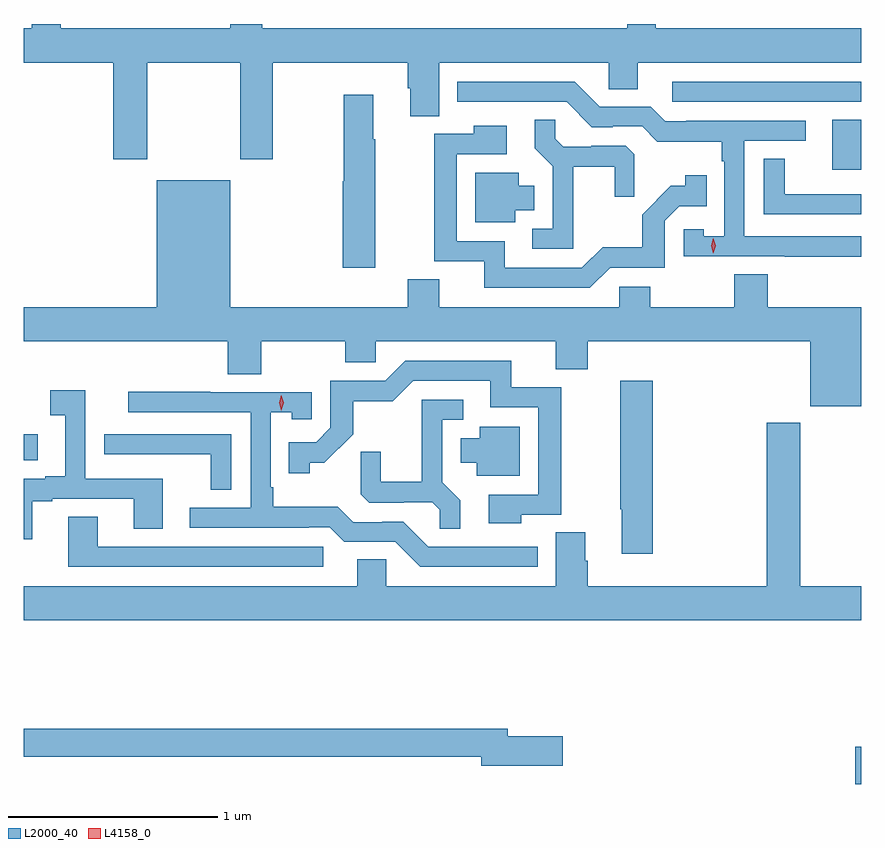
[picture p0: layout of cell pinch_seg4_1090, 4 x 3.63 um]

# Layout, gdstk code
import gdstk
lib = gdstk.Library(unit=1e-6, precision=1e-09)
def R(c, l, rs):  # rectangles x0, y0, x1, y1
    for r in rs: c.add(gdstk.rectangle(r[:2], r[2:], *l))
def P(c, l, *ps):  # polygons
    for p in ps: c.add(gdstk.Polygon(p, *l))
L2000_40 = (2000, 40)
L4158_0 = (4158, 0)

pinch_seg4_1090 = lib.new_cell('pinch_seg4_1090')
R(pinch_seg4_1090, L2000_40, [(426.648,793.375,426.678,793.553), (422.678,794.921,422.746,795.045), (426.539,796.308,426.678,796.547), (425.775,796.632,426.678,796.728)])
P(pinch_seg4_1090, L2000_40, [(423.267,796.82),(423.712,796.82),(423.712,796.359),(423.867,796.359),(423.867,796.82),(424.511,796.82),(424.511,796.698),(424.523,796.698),(424.523,796.564),(424.663,796.564),(424.663,796.82),(425.472,796.82),(425.472,796.693),(425.611,796.693),(425.611,796.82),(426.678,796.82),(426.678,796.984),(425.696,796.984),(425.696,797.004),(425.56,797.004),(425.56,796.984),(423.818,796.984),(423.818,797.004),(423.665,797.004),(423.665,796.984),(422.856,796.984),(422.856,797.004),(422.717,797.004),(422.717,796.984),(422.678,796.984),(422.678,796.82),(423.107,796.82),(423.107,796.359),(423.267,796.359)],
  [(426.678,795.99),(426.12,795.99),(426.12,796.446),(426.412,796.446),(426.412,796.542),(425.842,796.542),(425.842,796.539),(425.742,796.539),(425.673,796.608),(425.43,796.608),(425.31,796.728),(424.748,796.728),(424.748,796.632),(425.271,796.632),(425.391,796.512),(425.492,796.512),(425.492,796.515),(425.631,796.515),(425.704,796.442),(426.012,796.442),(426.012,796.349),(426.024,796.349),(426.024,795.991),(425.925,795.991),(425.925,796.023),(425.829,796.023),(425.829,795.894),(426.313,795.894),(426.313,795.892),(426.678,795.892)],
  [(424.356,796.453),(424.348,796.453),(424.348,796.666),(424.207,796.666),(424.207,796.253),(424.202,796.253),(424.202,795.84),(424.356,795.84)],
  [(425.303,796.322),(425.5,796.322),(425.5,796.179),(425.594,796.179),(425.594,796.381),(425.553,796.422),(425.388,796.422),(425.388,796.419),(425.254,796.419),(425.217,796.456),(425.217,796.547),(425.119,796.547),(425.119,796.411),(425.205,796.325),(425.205,796.026),(425.106,796.026),(425.106,795.93),(425.303,795.93)],
  [(425.478,795.84),(425.739,795.84),(425.739,796.065),(425.808,796.134),(425.939,796.134),(425.939,796.282),(425.838,796.282),(425.838,796.232),(425.768,796.232),(425.631,796.094),(425.631,795.939),(425.442,795.939),(425.343,795.84),(424.975,795.84),(424.975,795.966),(424.746,795.966),(424.746,796.383),(424.984,796.383),(424.984,796.519),(424.828,796.519),(424.828,796.479),(424.638,796.479),(424.638,795.87),(424.877,795.87),(424.877,795.744),(425.382,795.744)],
  [(426.678,796.191),(426.312,796.191),(426.312,796.361),(426.213,796.361),(426.213,796.095),(426.678,796.095)],
  [(425.026,796.115),(425.116,796.115),(425.116,796.231),(425.041,796.231),(425.041,796.294),(424.835,796.294),(424.835,796.058),(425.026,796.058)],
  [(426.678,795.652),(426.23,795.652),(426.23,795.809),(426.07,795.809),(426.07,795.652),(425.67,795.652),(425.67,795.75),(425.523,795.75),(425.523,795.652),(424.663,795.652),(424.663,795.785),(424.511,795.785),(424.511,795.652),(423.664,795.652),(423.664,796.258),(423.314,796.258),(423.314,795.652),(422.678,795.652),(422.678,795.488),(423.653,795.488),(423.653,795.331),(423.813,795.331),(423.813,795.488),(424.213,795.488),(424.213,795.39),(424.359,795.39),(424.359,795.488),(425.219,795.488),(425.219,795.355),(425.372,795.355),(425.372,795.488),(426.434,795.488),(426.434,795.179),(426.678,795.179)],
  [(425.055,794.661),(425.245,794.661),(425.245,795.27),(425.006,795.27),(425.006,795.396),(424.5,795.396),(424.404,795.3),(424.143,795.3),(424.143,795.075),(424.074,795.006),(423.943,795.006),(423.943,794.859),(424.044,794.859),(424.044,794.909),(424.114,794.909),(424.252,795.046),(424.252,795.202),(424.441,795.202),(424.539,795.3),(424.907,795.3),(424.907,795.174),(425.136,795.174),(425.136,794.757),(424.899,794.757),(424.899,794.621),(425.055,794.621)],
  [(425.681,795.301),(425.527,795.301),(425.527,794.687),(425.534,794.687),(425.534,794.475),(425.681,794.475)],
  [(422.719,794.724),(422.815,794.724),(422.815,794.736),(423.203,794.736),(423.203,794.593),(423.343,794.593),(423.343,794.832),(422.973,794.832),(422.973,795.256),(422.805,795.256),(422.805,795.136),(422.876,795.136),(422.876,794.845),(422.78,794.845),(422.78,794.832),(422.678,794.832),(422.678,794.544),(422.719,794.544)],
  [(425.134,794.508),(424.611,794.508),(424.491,794.628),(424.39,794.628),(424.39,794.625),(424.251,794.625),(424.178,794.698),(423.871,794.698),(423.871,794.791),(423.858,794.791),(423.858,795.149),(423.957,795.149),(423.957,795.117),(424.053,795.117),(424.053,795.246),(423.569,795.246),(423.569,795.249),(423.177,795.249),(423.177,795.15),(423.762,795.15),(423.762,794.694),(423.471,794.694),(423.471,794.598),(424.04,794.598),(424.04,794.601),(424.14,794.601),(424.209,794.532),(424.452,794.532),(424.572,794.412),(425.134,794.412)],
  [(424.763,794.729),(424.677,794.815),(424.677,795.114),(424.777,795.114),(424.777,795.21),(424.58,795.21),(424.58,794.818),(424.382,794.818),(424.382,794.961),(424.288,794.961),(424.288,794.759),(424.329,794.718),(424.494,794.718),(424.494,794.721),(424.628,794.721),(424.665,794.684),(424.665,794.593),(424.763,794.593)],
  [(426.678,794.32),(426.387,794.32),(426.387,795.1),(426.227,795.1),(426.227,794.32),(425.372,794.32),(425.372,794.442),(425.359,794.442),(425.359,794.576),(425.219,794.576),(425.219,794.32),(424.41,794.32),(424.41,794.447),(424.271,794.447),(424.271,794.32),(422.678,794.32),(422.678,794.156),(426.678,794.156)],
  [(425.047,795.082),(424.856,795.082),(424.856,795.025),(424.766,795.025),(424.766,794.909),(424.841,794.909),(424.841,794.846),(425.047,794.846)],
  [(423.669,795.045),(423.063,795.045),(423.063,794.95),(423.175,794.95),(423.175,794.949),(423.571,794.949),(423.571,794.779),(423.669,794.779)],
  [(424.108,794.508),(423.031,794.508),(423.031,794.651),(422.891,794.651),(422.891,794.412),(424.108,794.412)],
  [(425.251,793.604),(424.99,793.604),(424.99,793.64),(422.678,793.64),(422.678,793.504),(424.862,793.504),(424.862,793.462),(425.251,793.462)])
P(pinch_seg4_1090, L4158_0, [(423.909,795.158),(423.909,795.159),(423.899,795.195),(423.909,795.231),(423.909,795.231),(423.909,795.231),(423.919,795.195),(423.909,795.159)],
  [(425.971,795.909),(425.961,795.945),(425.971,795.981),(425.972,795.981),(425.972,795.981),(425.982,795.945),(425.972,795.909),(425.972,795.909)])

lib.write_gds('pinch_seg4_1090.gds')
